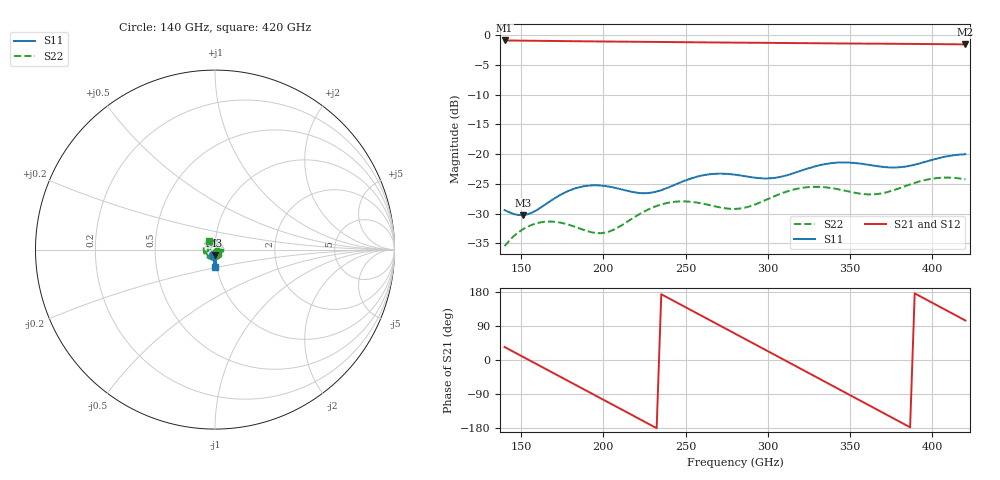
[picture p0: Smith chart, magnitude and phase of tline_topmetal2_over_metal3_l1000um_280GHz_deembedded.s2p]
! Created with skrf 2.0.1 (http://scikit-rf.org).
# GHz S DB R 50.0
!freq dBS11 angS11 dBS21 angS21 dBS12 angS12 dBS22 angS22
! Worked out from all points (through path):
!   101 points, 140 GHz to 420 GHz, reference 50 ohm
!   highest |S21| = -0.92 dB at 140 GHz (marker M1); lowest = -1.6 dB at 420 GHz (marker M2)
!   group delay of S21, straight-line fit = 6.45 ps
!   lowest |S11| = -30.3 dB at 151.2 GHz (marker M3), VSWR 1.06, Z = 49.7 - j3.04 ohm
!   |S11| at or under -10 dB: start of sweep to end of sweep
!   |S22| runs from -35.5 to -24.0 dB; largest |S21 - S12| = 1.6e-13
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140  -29.42 -105.6  -0.92 34.2  -0.92 34.2  -35.48 -43.3
151.2  -30.27 -94.3  -0.95 8.2  -0.95 8.2  -32.62 -82.5
168  -27.87 -80.7  -1.00 -30.7  -1.00 -30.7  -31.35 -142.4
187.6  -25.44 -89.2  -1.06 -76.1  -1.06 -76.1  -32.71 133.3
196  -25.25 -94.5  -1.08 -95.6  -1.08 -95.6  -33.29 88.1
207.2  -25.68 -99.1  -1.10 -121.5  -1.10 -121.5  -32.59 24.0
221.2  -26.53 -96.1  -1.14 -154.0  -1.14 -154.0  -30.22 -45.9
235.2  -26.07 -86.9  -1.17 173.5  -1.17 173.5  -28.47 -105.3
246.4  -24.82 -84.2  -1.20 147.5  -1.20 147.5  -27.96 -150.7
260.4  -23.58 -88.0  -1.23 115.1  -1.23 115.1  -28.33 149.8
280  -23.47 -95.3  -1.28 69.6  -1.28 69.6  -29.22 52.7
294  -24.03 -94.1  -1.31 37.1  -1.31 37.1  -28.28 -20.9
305.2  -23.96 -88.8  -1.33 11.1  -1.33 11.1  -26.94 -74.1
316.4  -23.15 -84.9  -1.35 -14.9  -1.35 -14.9  -25.92 -122.5
327.6  -22.15 -85.4  -1.38 -41.0  -1.38 -41.0  -25.51 -169.1
338.8  -21.52 -89.1  -1.41 -67.0  -1.41 -67.0  -25.73 143.3
350  -21.44 -93.2  -1.43 -93.0  -1.43 -93.0  -26.35 92.0
361.2  -21.81 -95.1  -1.45 -119.0  -1.45 -119.0  -26.79 35.6
375.2  -22.26 -91.9  -1.47 -151.6  -1.47 -151.6  -26.18 -37.1
394.8  -21.37 -85.1  -1.51 162.8  -1.51 162.8  -24.42 -127.9
408.8  -20.39 -86.6  -1.55 130.3  -1.55 130.3  -23.95 173.0
420  -20.04 -90.2  -1.57 104.2  -1.57 104.2  -24.25 124.8
